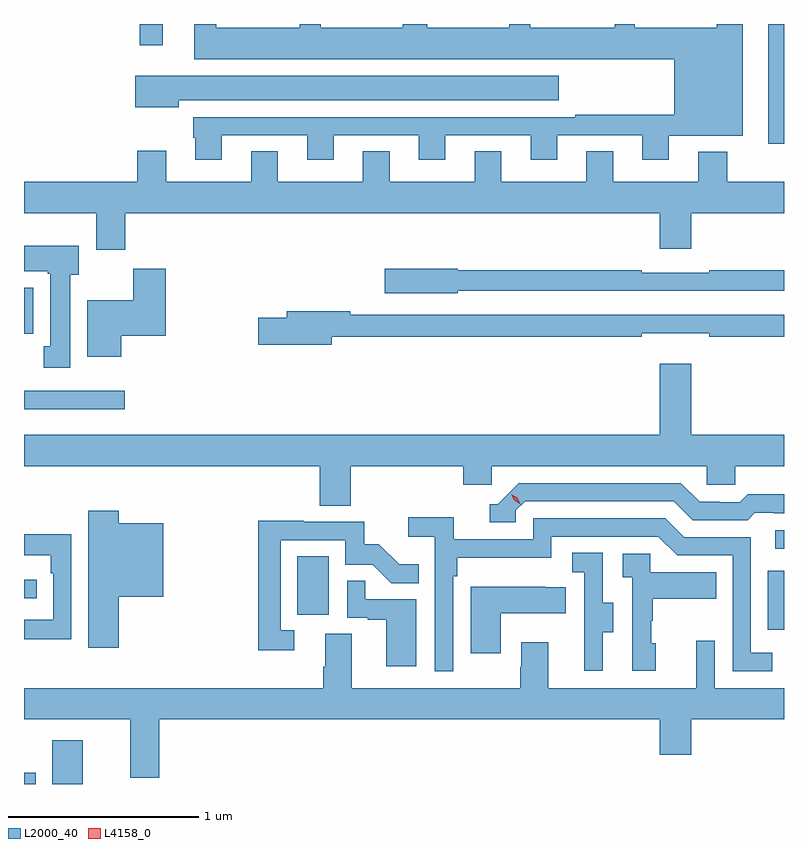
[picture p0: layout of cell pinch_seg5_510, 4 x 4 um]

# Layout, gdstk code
import gdstk
lib = gdstk.Library(unit=1e-6, precision=1e-09)
def R(c, l, rs):  # rectangles x0, y0, x1, y1
    for r in rs: c.add(gdstk.rectangle(r[:2], r[2:], *l))
def P(c, l, *ps):  # polygons
    for p in ps: c.add(gdstk.Polygon(p, *l))
L2000_40 = (2000, 40)
L4158_0 = (4158, 0)

pinch_seg5_510 = lib.new_cell('pinch_seg5_510')
R(pinch_seg5_510, L2000_40, [(928.893,845.763,928.954,845.821), (929.042,845.763,929.203,845.992), (932.808,846.576,932.893,846.886), (930.332,846.654,930.496,846.961), (928.893,846.741,928.96,846.837), (932.847,847.002,932.893,847.098), (928.893,847.736,929.422,847.833), (928.893,848.132,928.942,848.374), (932.81,849.132,932.893,849.763), (929.502,849.651,929.623,849.763)])
P(pinch_seg5_510, L2000_40, [(929.935,849.177),(930.383,849.177),(930.383,849.048),(930.523,849.048),(930.523,849.177),(930.971,849.177),(930.971,849.048),(931.111,849.048),(931.111,849.177),(931.559,849.177),(931.559,849.048),(931.699,849.048),(931.699,849.177),(932.147,849.177),(932.147,849.048),(932.287,849.048),(932.287,849.176),(932.677,849.176),(932.677,849.763),(932.54,849.763),(932.54,849.742),(932.107,849.742),(932.107,849.763),(932.003,849.763),(932.003,849.742),(931.558,849.742),(931.558,849.763),(931.448,849.763),(931.448,849.742),(931.015,849.742),(931.015,849.763),(930.887,849.763),(930.887,849.742),(930.454,849.742),(930.454,849.763),(930.344,849.763),(930.344,849.742),(929.905,849.742),(929.905,849.763),(929.789,849.763),(929.789,849.578),(932.315,849.578),(932.315,849.286),(931.795,849.286),(931.795,849.273),(929.783,849.273),(929.783,849.165),(929.795,849.165),(929.795,849.048),(929.935,849.048)],
  [(929.707,849.362),(931.708,849.362),(931.708,849.49),(929.478,849.49),(929.478,849.326),(929.707,849.326)],
  [(929.426,848.768),(932.24,848.768),(932.24,848.58),(932.404,848.58),(932.404,848.768),(932.893,848.768),(932.893,848.932),(932.594,848.932),(932.594,849.091),(932.441,849.091),(932.441,848.932),(931.993,848.932),(931.993,849.092),(931.853,849.092),(931.853,848.932),(931.405,848.932),(931.405,849.092),(931.265,849.092),(931.265,848.932),(930.817,848.932),(930.817,849.092),(930.677,849.092),(930.677,848.932),(930.229,848.932),(930.229,849.092),(930.089,849.092),(930.089,848.932),(929.641,848.932),(929.641,849.097),(929.489,849.097),(929.489,848.932),(928.893,848.932),(928.893,848.768),(929.273,848.768),(929.273,848.574),(929.426,848.574)],
  [(929.137,848.442),(929.182,848.442),(929.182,848.596),(928.893,848.596),(928.893,848.462),(929.017,848.462),(929.017,848.449),(929.03,848.449),(929.03,848.066),(928.997,848.066),(928.997,847.953),(929.137,847.953)],
  [(929.404,848.123),(929.639,848.123),(929.639,848.476),(929.468,848.476),(929.468,848.308),(929.225,848.308),(929.225,848.012),(929.404,848.012)],
  [(931.176,848.358),(932.893,848.358),(932.893,848.467),(932.5,848.467),(932.5,848.454),(932.144,848.454),(932.144,848.467),(931.176,848.467),(931.176,848.475),(930.792,848.475),(930.792,848.345),(931.176,848.345)],
  [(930.514,848.116),(932.144,848.116),(932.144,848.135),(932.5,848.135),(932.5,848.116),(932.893,848.116),(932.893,848.232),(930.61,848.232),(930.61,848.252),(930.275,848.252),(930.275,848.216),(930.126,848.216),(930.126,848.074),(930.514,848.074)],
  [(930.614,847.436),(931.205,847.436),(931.205,847.338),(931.356,847.338),(931.356,847.436),(932.487,847.436),(932.487,847.338),(932.637,847.338),(932.637,847.436),(932.893,847.436),(932.893,847.6),(932.404,847.6),(932.404,847.975),(932.24,847.975),(932.24,847.6),(928.893,847.6),(928.893,847.436),(930.449,847.436),(930.449,847.228),(930.614,847.228)],
  [(931.482,847.203),(931.53,847.251),(932.313,847.251),(932.412,847.152),(932.701,847.152),(932.74,847.191),(932.839,847.191),(932.839,847.188),(932.893,847.188),(932.893,847.288),(932.701,847.288),(932.659,847.245),(932.556,847.245),(932.556,847.248),(932.449,847.248),(932.35,847.347),(931.497,847.347),(931.386,847.236),(931.343,847.236),(931.343,847.14),(931.482,847.14)],
  [(929.392,846.749),(929.626,846.749),(929.626,847.135),(929.392,847.135),(929.392,847.201),(929.231,847.201),(929.231,846.48),(929.392,846.48)],
  [(931.152,846.857),(931.172,846.857),(931.172,846.953),(931.668,846.953),(931.668,847.065),(932.232,847.065),(932.331,846.966),(932.622,846.966),(932.622,846.357),(932.831,846.357),(932.831,846.453),(932.718,846.453),(932.718,847.062),(932.368,847.062),(932.269,847.161),(931.572,847.161),(931.572,847.05),(931.154,847.05),(931.154,847.166),(930.915,847.166),(930.915,847.064),(931.056,847.064),(931.056,846.357),(931.152,846.357)],
  [(930.316,846.573),(930.243,846.573),(930.243,847.047),(930.585,847.047),(930.585,846.918),(930.729,846.918),(930.827,846.82),(930.971,846.82),(930.971,846.919),(930.867,846.919),(930.76,847.026),(930.684,847.026),(930.684,847.143),(930.365,847.143),(930.365,847.148),(930.127,847.148),(930.127,846.468),(930.316,846.468)],
  [(929.142,847.078),(928.893,847.078),(928.893,846.968),(929.033,846.968),(929.033,846.872),(929.046,846.872),(929.046,846.627),(928.893,846.627),(928.893,846.526),(929.142,846.526)],
  [(931.939,846.562),(931.993,846.562),(931.993,846.717),(931.938,846.717),(931.938,846.98),(931.779,846.98),(931.779,846.877),(931.842,846.877),(931.842,846.573),(931.841,846.573),(931.841,846.36),(931.939,846.36)],
  [(932.218,846.504),(932.193,846.504),(932.193,846.623),(932.203,846.623),(932.203,846.737),(932.537,846.737),(932.537,846.877),(932.19,846.877),(932.19,846.975),(932.043,846.975),(932.043,846.851),(932.094,846.851),(932.094,846.36),(932.218,846.36)],
  [(930.958,846.735),(930.689,846.735),(930.689,846.833),(930.594,846.833),(930.594,846.639),(930.701,846.639),(930.701,846.627),(930.8,846.627),(930.8,846.384),(930.958,846.384)],
  [(931.402,846.662),(931.745,846.662),(931.745,846.799),(931.637,846.799),(931.637,846.802),(931.244,846.802),(931.244,846.45),(931.402,846.45)],
  [(929.606,846.104),(932.24,846.104),(932.24,845.916),(932.404,845.916),(932.404,846.104),(932.893,846.104),(932.893,846.268),(932.529,846.268),(932.529,846.517),(932.432,846.517),(932.432,846.268),(931.651,846.268),(931.651,846.508),(931.511,846.508),(931.511,846.38),(931.504,846.38),(931.504,846.268),(930.619,846.268),(930.619,846.554),(930.479,846.554),(930.479,846.38),(930.467,846.38),(930.467,846.268),(928.893,846.268),(928.893,846.104),(929.453,846.104),(929.453,845.795),(929.606,845.795)])
P(pinch_seg5_510, L4158_0, [(931.505,847.236),(931.474,847.256),(931.458,847.288),(931.458,847.289),(931.458,847.289),(931.489,847.269),(931.506,847.237),(931.506,847.236)])

lib.write_gds('pinch_seg5_510.gds')
